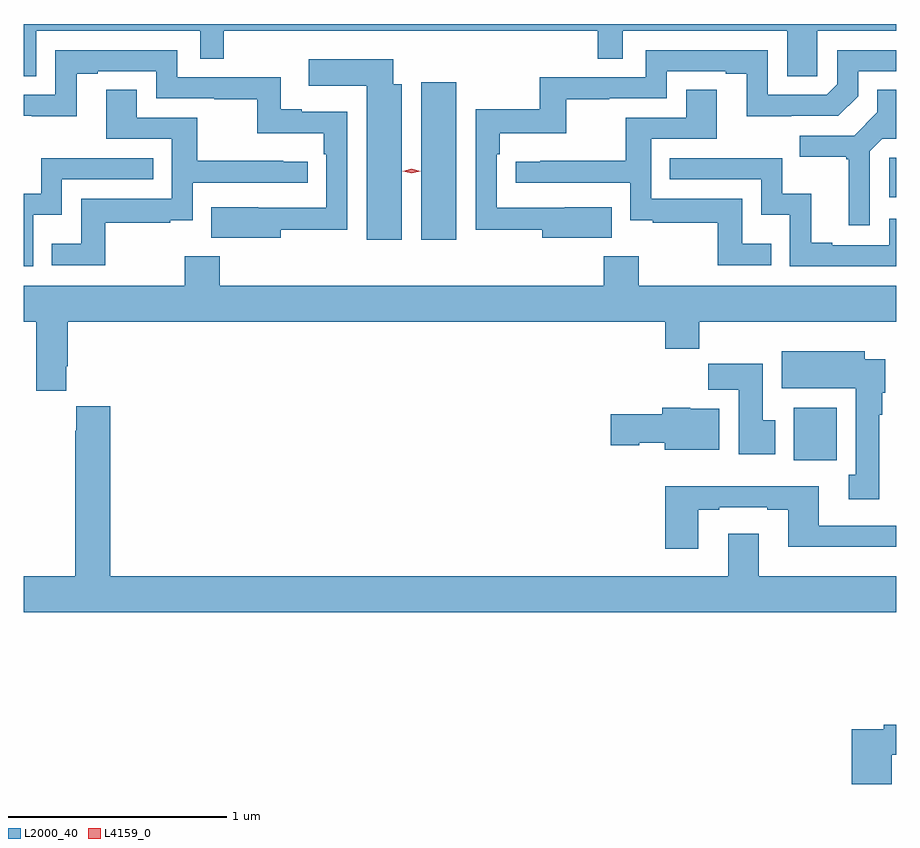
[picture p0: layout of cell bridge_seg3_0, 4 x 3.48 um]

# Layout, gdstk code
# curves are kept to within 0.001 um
import gdstk
lib = gdstk.Library(unit=1e-6, precision=1e-09)
def R(c, l, rs):  # rectangles x0, y0, x1, y1
    for r in rs: c.add(gdstk.rectangle(r[:2], r[2:], *l))
def P(c, l, *ps):  # polygons
    for p in ps: c.add(gdstk.Polygon(p, *l))
L2000_40 = (2000, 40)
L4159_0 = (4159, 0)

bridge_seg3_0 = lib.new_cell('bridge_seg3_0')
R(bridge_seg3_0, L2000_40, [(914.759,746.9,914.956,747.142), (913.052,747.912,913.213,748.633), (915.198,748.107,915.23,748.287)])
P(bridge_seg3_0, L2000_40, [(911.287,748.868),(912.039,748.868),(912.039,748.741),(912.148,748.741),(912.148,748.868),(913.861,748.868),(913.861,748.741),(913.977,748.741),(913.977,748.868),(914.729,748.868),(914.729,748.66),(914.868,748.66),(914.868,748.868),(915.23,748.868),(915.23,748.9),(911.23,748.9),(911.23,748.66),(911.287,748.66)],
  [(913.925,748.06),(913.398,748.059),(913.398,748.304),(913.412,748.304),(913.412,748.4),(913.717,748.4),(913.717,748.555),(913.913,748.555),(913.913,748.56),(914.178,748.56),(914.178,748.683),(914.447,748.683),(914.447,748.671),(914.543,748.671),(914.543,748.478),(914.964,748.479),(915.054,748.569),(915.054,748.683),(915.23,748.683),(915.23,748.779),(914.958,748.779),(914.958,748.623),(914.91,748.575),(914.64,748.575),(914.64,748.779),(914.082,748.779),(914.082,748.656),(913.596,748.656),(913.596,748.51),(913.302,748.51),(913.302,747.958),(913.607,747.958),(913.607,747.92),(913.925,747.92)],
  [(912.409,747.958),(912.714,747.958),(912.714,748.497),(912.505,748.497),(912.505,748.51),(912.408,748.51),(912.408,748.656),(911.934,748.656),(911.934,748.779),(911.376,748.779),(911.376,748.575),(911.23,748.575),(911.23,748.479),(911.268,748.479),(911.268,748.478),(911.473,748.478),(911.473,748.671),(911.569,748.671),(911.569,748.683),(911.838,748.683),(911.838,748.56),(912.103,748.56),(912.103,748.555),(912.3,748.555),(912.3,748.4),(912.605,748.4),(912.605,748.304),(912.618,748.304),(912.618,748.059),(912.305,748.059),(912.305,748.06),(912.091,748.06),(912.091,747.92),(912.409,747.92)],
  [(912.964,748.624),(912.925,748.624),(912.925,748.738),(912.537,748.738),(912.537,748.616),(912.803,748.616),(912.803,747.912),(912.964,747.912)],
  [(915.108,748.317),(915.165,748.374),(915.23,748.374),(915.23,748.598),(915.143,748.598),(915.143,748.496),(915.036,748.389),(914.787,748.389),(914.787,748.292),(915,748.292),(915,748.281),(915.011,748.281),(915.011,747.978),(915.108,747.978)],
  [(914.657,747.892),(914.523,747.892),(914.523,748.098),(914.106,748.098),(914.106,748.374),(914.407,748.374),(914.407,748.598),(914.267,748.598),(914.267,748.47),(913.99,748.47),(913.99,748.274),(913.597,748.274),(913.597,748.269),(913.485,748.269),(913.485,748.173),(914.01,748.173),(914.01,748.001),(914.113,748.001),(914.113,747.99),(914.412,747.99),(914.412,747.795),(914.657,747.795)],
  [(911.605,747.99),(911.903,747.99),(911.903,748.001),(912.006,748.001),(912.006,748.173),(912.532,748.173),(912.532,748.269),(912.419,748.269),(912.419,748.274),(912.026,748.274),(912.026,748.47),(911.749,748.47),(911.749,748.598),(911.609,748.598),(911.609,748.374),(911.91,748.374),(911.91,748.098),(911.494,748.098),(911.494,747.892),(911.359,747.892),(911.359,747.795),(911.605,747.795)],
  [(911.274,748.025),(911.406,748.025),(911.406,748.188),(911.825,748.188),(911.825,748.284),(911.31,748.284),(911.31,748.123),(911.23,748.123),(911.23,747.789),(911.274,747.789)],
  [(915.23,748.008),(915.198,748.008),(915.198,747.885),(914.935,747.885),(914.935,747.898),(914.839,747.898),(914.839,748.123),(914.706,748.123),(914.706,748.284),(914.191,748.284),(914.191,748.188),(914.61,748.188),(914.61,748.025),(914.742,748.025),(914.742,747.789),(915.23,747.789)],
  [(911.425,747.331),(911.432,747.331),(911.432,747.536),(914.171,747.536),(914.171,747.412),(914.327,747.412),(914.327,747.536),(915.23,747.536),(915.23,747.7),(914.049,747.7),(914.049,747.835),(913.889,747.835),(913.889,747.7),(912.128,747.7),(912.128,747.835),(911.968,747.835),(911.968,747.7),(911.23,747.7),(911.23,747.536),(911.288,747.536),(911.288,747.219),(911.425,747.219)],
  [(915.151,747.11),(915.166,747.11),(915.166,747.21),(915.178,747.21),(915.178,747.364),(915.085,747.364),(915.085,747.4),(914.705,747.4),(914.705,747.23),(915.044,747.23),(915.044,746.834),(915.011,746.834),(915.011,746.721),(915.151,746.721)],
  [(914.674,747.084),(914.617,747.084),(914.617,747.342),(914.368,747.342),(914.368,747.224),(914.507,747.224),(914.507,746.928),(914.674,746.928)],
  [(915.23,746.368),(914.599,746.368),(914.599,746.563),(914.459,746.563),(914.459,746.368),(911.627,746.368),(911.627,747.148),(911.471,747.148),(911.471,747.035),(911.467,747.035),(911.467,746.368),(911.23,746.368),(911.23,746.204),(915.23,746.204)],
  [(914.419,747.136),(914.286,747.136),(914.286,747.142),(914.156,747.142),(914.156,747.111),(913.92,747.111),(913.92,746.969),(914.052,746.969),(914.052,746.981),(914.168,746.981),(914.168,746.948),(914.419,746.948)],
  [(914.323,746.673),(914.419,746.673),(914.419,746.685),(914.639,746.685),(914.639,746.673),(914.735,746.673),(914.735,746.504),(915.23,746.504),(915.23,746.601),(914.875,746.601),(914.875,746.782),(914.171,746.782),(914.171,746.496),(914.323,746.496)],
  [(915.209,745.552),(915.23,745.552),(915.23,745.688),(915.172,745.688),(915.172,745.668),(915.026,745.668),(915.026,745.417),(915.209,745.417)])
P(bridge_seg3_0, L4159_0, [(913.008,748.216),(912.968,748.226),(912.968,748.226),(912.968,748.226),(913.008,748.236),(913.048,748.226),(913.048,748.226),(913.048,748.226)])

lib.write_gds('bridge_seg3_0.gds')
